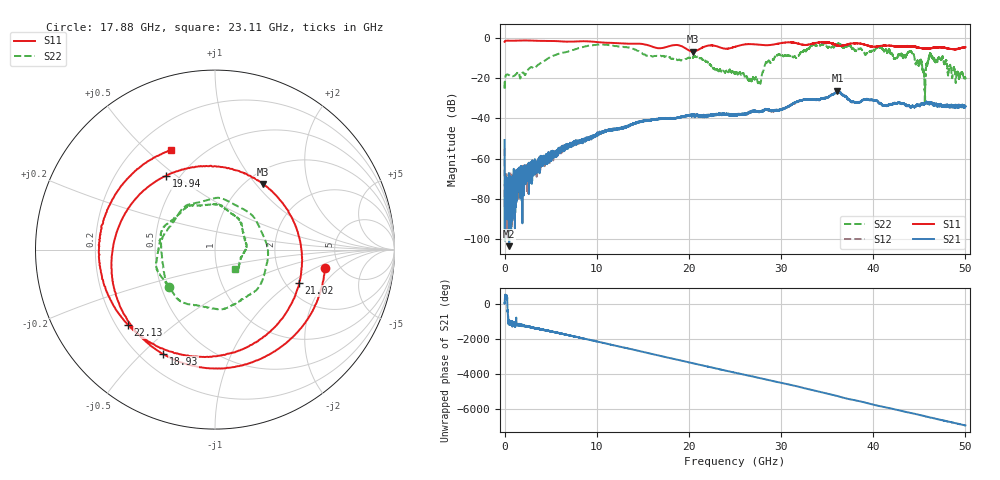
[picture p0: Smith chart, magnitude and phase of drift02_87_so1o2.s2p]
!Created with skrf (http://scikit-rf.org).
# Hz S RI R 50.0
!freq ReS11 ImS11 ReS21 ImS21 ReS12 ImS12 ReS22 ImS22
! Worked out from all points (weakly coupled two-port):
!   10001 points, 300 kHz to 50 GHz, reference 50 ohm
!   highest |S21| = -26.25 dB at 36.12 GHz (marker M1); lowest = -103.4 dB at 500.3 MHz (marker M2)
!   lowest |S11| = -6.9 dB at 20.44 GHz (marker M3), VSWR 2.64, Z = 59.3 + j54.3 ohm
!   |S11| at or under -10 dB: nowhere
!   |S22| runs from -33.3 to -2.7 dB; largest |S21 - S12| = 0.005
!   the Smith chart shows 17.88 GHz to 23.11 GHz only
!   S11 on the Smith chart (normalised r, x): 17.88 GHz: 3.82, -1.30; 18.93 GHz: 0.29, -0.58; 19.94 GHz: 0.42, +0.46; 21.02 GHz: 2.36, -1.17; 22.13 GHz: 0.25, -0.35; 23.11 GHz: 0.34, +0.59
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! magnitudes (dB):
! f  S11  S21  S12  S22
! 300 kHz  -2.1  -50.7  -55.1  -21.8
! 255.3 MHz  -1.4  -73.5  -95.8  -18.2
! 500.3 MHz  -1.5  -103.4  -80.3  -18.7
! 8.335 GHz  -1.7  -50.9  -51.1  -4.7
! 16.67 GHz  -5.2  -40.4  -40.4  -9.0
! 17.88 GHz  -4.1  -39.9  -40.0  -9.6
! 18.93 GHz  -3.7  -39.7  -39.5  -10.8
! 19.94 GHz  -6.1  -38.7  -38.6  -9.9
! 20.44 GHz  -6.9  -38.7  -38.2  -9.8
! 21.02 GHz  -6.0  -38.7  -38.6  -9.4
! 22.13 GHz  -3.9  -38.6  -38.7  -12.7
! 23.11 GHz  -4.4  -37.8  -38.2  -16.1
! 25 GHz  -4.5  -38.3  -38.2  -17.8
! 27.63 GHz  -3.5  -36.8  -36.7  -21.2
! 29.54 GHz  -3.0  -35.8  -36.0  -8.8
! 33.34 GHz  -3.1  -30.5  -30.5  -3.8
! 36.12 GHz  -4.0  -26.2  -26.9  -3.1
! 41.67 GHz  -3.9  -33.3  -33.3  -6.0
! 44.15 GHz  -4.2  -34.4  -34.3  -7.0
! 45.52 GHz  -5.4  -33.0  -32.7  -19.1
! 47.36 GHz  -4.8  -33.7  -33.3  -11.0
! 50 GHz  -4.7  -33.9  -34.0  -20.1
